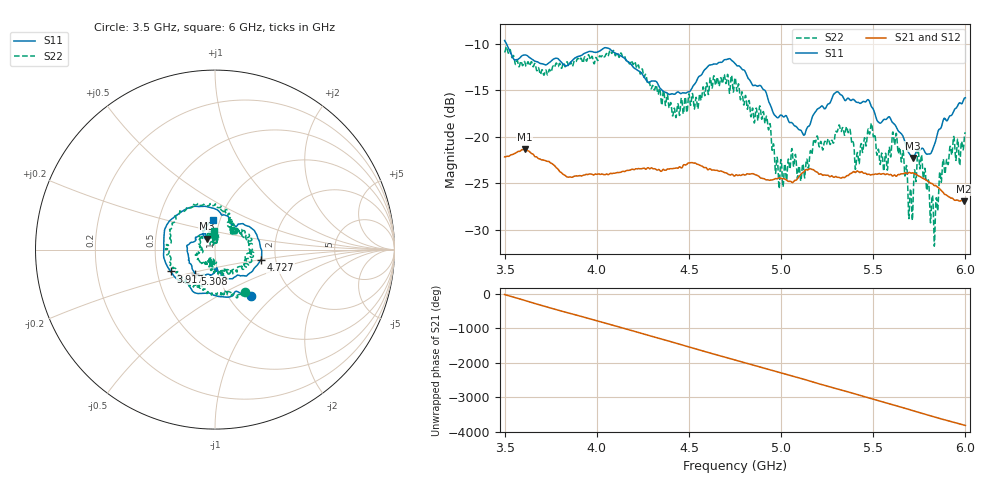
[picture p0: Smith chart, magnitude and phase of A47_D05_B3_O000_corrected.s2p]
! Created with skrf 1.9.0 (http://scikit-rf.org).
# Hz S RI R 50.0
!freq ReS11 ImS11 ReS21 ImS21 ReS12 ImS12 ReS22 ImS22
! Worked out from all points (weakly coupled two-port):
!   1601 points, 3.5 GHz to 6 GHz, reference 50 ohm
!   highest |S21| = -21.35 dB at 3.609 GHz (marker M1); lowest = -26.9 dB at 5.992 GHz (marker M2)
!   lowest |S11| = -22.3 dB at 5.714 GHz (marker M3), VSWR 1.17, Z = 45.2 + j5.57 ohm
!   |S11| at or under -10 dB: 3.511 GHz to end of sweep
!   |S22| runs from -31.8 to -10.3 dB; largest |S21 - S12| = 0.0011
!   S11 on the Smith chart (normalised r, x): 3.5 GHz: 1.27, -0.74; 3.917 GHz: 0.59, -0.16; 4.727 GHz: 1.67, -0.21; 5.308 GHz: 0.78, -0.22; 6 GHz: 0.93, +0.31
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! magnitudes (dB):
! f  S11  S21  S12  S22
! 3.5 GHz  -9.6  -22.1  -22.1  -10.8
! 3.609 GHz  -11.2  -21.3  -21.3  -11.9
! 3.917 GHz  -11.2  -24.2  -24.1  -11.6
! 4.139 GHz  -11.4  -23.7  -23.7  -11.3
! 4.334 GHz  -14.4  -23.5  -23.4  -15.3
! 4.42 GHz  -15.4  -23.4  -23.3  -16.9
! 4.727 GHz  -11.6  -24.1  -24.0  -14.0
! 4.75 GHz  -12.1  -24.2  -24.1  -13.6
! 4.931 GHz  -16.1  -24.6  -24.6  -19.2
! 5 GHz  -17.6  -24.5  -24.4  -22.4
! 5.167 GHz  -18.0  -23.5  -23.4  -21.9
! 5.308 GHz  -15.1  -24.3  -24.3  -19.2
! 5.412 GHz  -16.3  -23.7  -23.6  -21.8
! 5.483 GHz  -16.4  -24.1  -24.0  -19.5
! 5.584 GHz  -17.8  -24.1  -24.0  -21.4
! 5.617 GHz  -18.7  -24.1  -24.1  -20.8
! 5.714 GHz  -22.3  -23.9  -23.8  -28.4
! 5.752 GHz  -21.4  -24.2  -24.2  -23.3
! 5.839 GHz  -20.4  -25.2  -25.2  -27.2
! 5.87 GHz  -18.9  -25.8  -25.7  -24.7
! 5.992 GHz  -15.9  -26.9  -26.8  -20.6
! 6 GHz  -15.8  -26.9  -26.8  -19.6
